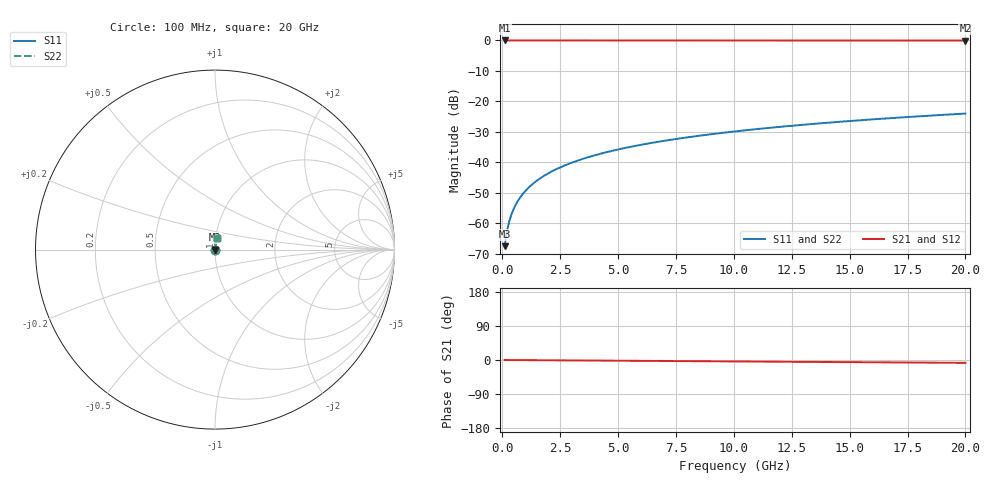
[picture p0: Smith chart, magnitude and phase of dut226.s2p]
! Touchstone file exported from HFSS 2026.1.0
!  File:  C:/ffzhzh/LocalFiles/Ansys_Project_Files/temp_train_TSV_226_1782992284_40604.aedt
!  Generated:  07:39:58 PM Jul  2, 2026
!  Design:  TSV
!  Project:  temp_train_TSV_226_1782992284_40604
! Variables:
!  h_bsmrdl = 2um
!  h_ox = 20um
!  h_rdl = 5um
!  h_sub = 59.88um
!  h_tmrdl = 5um
!  h_tsv = 59.88um
!  h_via = 3um
!  l_bsmrdl = 300um
!  l_sub = 411.82um
!  l_tmrdl = 200um
!  m_sub = 200um
!  pitch = 49.18um
!  r_tsv = 5.91um
!  s_tmrdl = 10um
!  w_bsmrdl = 18um
!  w_sub = 500um
!  w_tmrdl = 12um
!  x_tsv_center1 = 206um
!  x_tsv_center2 = 524um
!  x_tsv_center3 = 736um
!  x_tsv_center4 = 1054um
!  x_tsv_center5 = 1266um
!  x_tsv_center6 = 1584um
# GHz S MA R 50.000000
! Terminal data exported
! Port[1] = TSV1_1_T1
! Port[2] = TSV1_1_T2
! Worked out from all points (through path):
!   200 points, 100 MHz to 20 GHz, reference 50 ohm
!   highest |S21| = 0.00 dB at 100 MHz (marker M1); lowest = 0.0 dB at 20 GHz (marker M2)
!   group delay of S21, straight-line fit = 1.04 ps
!   lowest |S11| = -67.5 dB at 100 MHz (marker M3), VSWR 1.00, Z = 50 + j0.0352 ohm
!   |S11| at or under -10 dB: start of sweep to end of sweep
!   |S22| runs from -67.5 to -24.0 dB; largest |S21 - S12| = 8.8e-15
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0.1  0.0004207 56.7  0.9998 -0.0  0.9998 -0.0  0.0004207 56.7
! Gamma 0 0 0 0
! Port Impedance 50 0 50 0
0.2  0.0007411 71.1  0.9998 -0.1  0.9998 -0.1  0.0007411 71.1
0.3  0.001078 76.4  0.9997 -0.1  0.9997 -0.1  0.001078 76.4
0.4  0.001415 79.0  0.9997 -0.2  0.9997 -0.2  0.001415 79.0
0.5  0.001751 80.5  0.9997 -0.2  0.9997 -0.2  0.001751 80.5
0.6  0.002084 81.5  0.9997 -0.2  0.9997 -0.2  0.002084 81.5
0.7  0.002415 82.2  0.9997 -0.3  0.9997 -0.3  0.002415 82.2
0.8  0.002744 82.7  0.9997 -0.3  0.9997 -0.3  0.002744 82.7
1  0.003398 83.6  0.9996 -0.4  0.9996 -0.4  0.003398 83.6
1.4  0.004698 84.5  0.9996 -0.5  0.9996 -0.5  0.004698 84.5
1.7  0.00567 85.0  0.9995 -0.7  0.9995 -0.7  0.00567 85.0
2  0.006641 85.3  0.9995 -0.8  0.9995 -0.8  0.006641 85.3
2.7  0.0089 85.6  0.9994 -1.0  0.9994 -1.0  0.0089 85.6
3.5  0.01147 85.7  0.9993 -1.3  0.9993 -1.3  0.01147 85.7
4.2  0.01371 85.6  0.9992 -1.6  0.9992 -1.6  0.01371 85.6
5  0.01625 85.5  0.9991 -1.9  0.9991 -1.9  0.01625 85.5
6.8  0.02194 85.2  0.9989 -2.6  0.9989 -2.6  0.02194 85.2
8.3  0.02666 84.8  0.9987 -3.1  0.9987 -3.1  0.02666 84.8
10.1  0.03231 84.3  0.9984 -3.8  0.9984 -3.8  0.03231 84.3
13.4  0.04263 83.4  0.9979 -5.1  0.9979 -5.1  0.04263 83.4
16.7  0.0529 82.3  0.9973 -6.3  0.9973 -6.3  0.0529 82.3
20  0.06309 81.2  0.9966 -7.5  0.9966 -7.5  0.06309 81.2
